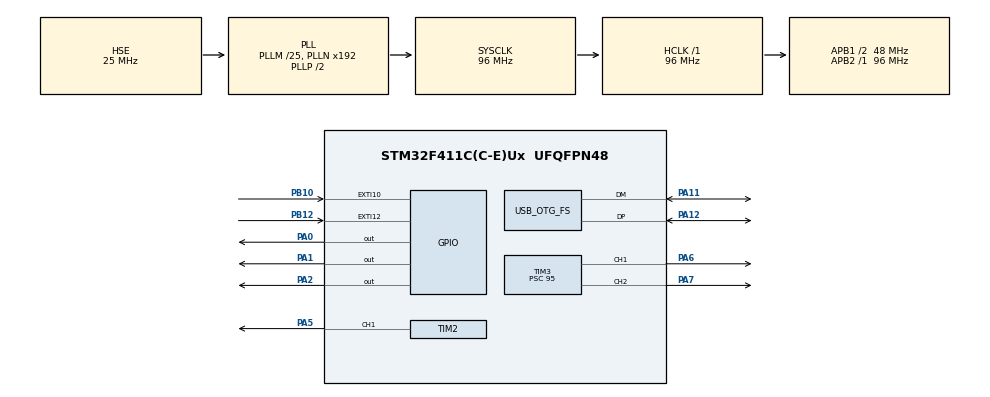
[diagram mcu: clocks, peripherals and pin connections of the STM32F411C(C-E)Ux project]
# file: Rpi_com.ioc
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Mcu.Family=STM32F4
Mcu.Name=STM32F411C(C-E)Ux
Mcu.Package=UFQFPN48
NVIC.EXTI15_10_IRQn=true\:0\:0\:false\:false\:true\:true\:true\:true
NVIC.OTG_FS_IRQn=true\:0\:0\:false\:false\:true\:false\:true\:true
NVIC.PriorityGroup=NVIC_PRIORITYGROUP_4
NVIC.TIM3_IRQn=true\:0\:0\:false\:false\:true\:true\:true\:true
PA0-WKUP.Signal=GPIO_Output
PA1.Signal=GPIO_Output
PA11.Mode=Device_Only
PA11.Signal=USB_OTG_FS_DM
PA12.Mode=Device_Only
PA12.Signal=USB_OTG_FS_DP
PA13.Mode=Serial_Wire
PA13.Signal=SYS_JTMS-SWDIO
PA14.Mode=Serial_Wire
PA14.Signal=SYS_JTCK-SWCLK
PA2.Signal=GPIO_Output
PA5.Signal=S_TIM2_CH1_ETR
PA6.Signal=S_TIM3_CH1
PA7.Signal=S_TIM3_CH2
PB10.GPIO_ModeDefaultEXTI=GPIO_MODE_IT_FALLING
PB10.GPIO_PuPd=GPIO_NOPULL
PB10.Signal=GPXTI10
PB12.GPIO_ModeDefaultEXTI=GPIO_MODE_IT_FALLING
PB12.GPIO_PuPd=GPIO_PULLDOWN
PB12.Signal=GPXTI12
PH0\ -\ OSC_IN.Mode=HSE-External-Oscillator
PH0\ -\ OSC_IN.Signal=RCC_OSC_IN
PH1\ -\ OSC_OUT.Mode=HSE-External-Oscillator
PH1\ -\ OSC_OUT.Signal=RCC_OSC_OUT
ProjectManager.HeapSize=0x200
ProjectManager.StackSize=0x400
ProjectManager.TargetToolchain=STM32CubeIDE
RCC.48MHZClocksFreq_Value=48000000
RCC.AHBFreq_Value=96000000
RCC.APB1CLKDivider=RCC_HCLK_DIV2
RCC.APB1Freq_Value=48000000
RCC.APB1TimFreq_Value=96000000
RCC.APB2Freq_Value=96000000
RCC.APB2TimFreq_Value=96000000
RCC.CortexFreq_Value=96000000
RCC.HCLKFreq_Value=96000000
RCC.HSE_VALUE=25000000
RCC.HSI_VALUE=16000000
RCC.LSE_VALUE=32768
RCC.PLLM=25
RCC.SYSCLKFreq_VALUE=96000000
RCC.SYSCLKSource=RCC_SYSCLKSOURCE_PLLCLK
RCC.VCOOutputFreq_Value=192000000
SH.S_TIM2_CH1_ETR.0=TIM2_CH1,PWM Generation1 CH1
SH.S_TIM3_CH1.0=TIM3_CH1,PWM Generation1 CH1
SH.S_TIM3_CH2.0=TIM3_CH2,PWM Generation2 CH2
TIM2.AutoReloadPreload=TIM_AUTORELOAD_PRELOAD_DISABLE
TIM2.Channel-PWM\ Generation1\ CH1=TIM_CHANNEL_1
TIM2.Period=19999
TIM2.Prescaler=95
TIM3.Channel-PWM\ Generation1\ CH1=TIM_CHANNEL_1
TIM3.Channel-PWM\ Generation2\ CH2=TIM_CHANNEL_2
TIM3.Period=19999
TIM3.Prescaler=95
USB_DEVICE.CLASS_NAME_FS=CDC
USB_DEVICE.VirtualMode=Cdc
USB_DEVICE.VirtualModeFS=Cdc_FS
USB_OTG_FS.VirtualMode=Device_Only
VP_USB_DEVICE_VS_USB_DEVICE_CDC_FS.Mode=CDC_FS
board=custom

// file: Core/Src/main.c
/* USER CODE BEGIN Header */
/**
  ******************************************************************************
  * @file           : main.c
  * @brief          : Main program body
  ******************************************************************************
  * @attention
  *
  * Copyright (c) 2025 STMicroelectronics.
  * All rights reserved.
  *
  * This software is licensed under terms that can be found in the LICENSE file
  * in the root directory of this software component.
  * If no LICENSE file comes with this software, it is provided AS-IS.
  *
  ******************************************************************************
  */
/* USER CODE END Header */
#include "main.h"
#include "usb_device.h"

/* USER CODE BEGIN PD */
#define MIN_PULSE 1000      // microseconds
#define MAX_PULSE 2000      // microseconds
#define MID_PULSE 1500      // microseconds

#define STAY_LOW_TIME 5000  // milliseconds
#define RAMP_TIME 15000     // milliseconds
#define EN_PIN     GPIO_PIN_2
#define STEP_PIN   GPIO_PIN_1
#define DIR_PIN    GPIO_PIN_0
#define EN_PORT    GPIOA
#define STEP_PORT  GPIOA
#define DIR_PORT   GPIOA

#define UP_LIMIT_PIN      GPIO_PIN_10   // PB10
#define DOWN_LIMIT_PIN    GPIO_PIN_12   // PB12
#define LIMIT_PORT        GPIOB
/* USER CODE END PD */

TIM_HandleTypeDef htim2;
TIM_HandleTypeDef htim3;

/* USER CODE BEGIN PV */
volatile uint8_t up_limit_reached = 0;
volatile uint8_t down_limit_reached = 0;
int right = 0;
int left = 0;
int base_pulse = 1490;
int right_min = 1300;
int left_max  = 1600;

float progress;

/* “reported�? flags so we send LIMIT:UP only once until state changes */
volatile uint8_t up_limit_reported = 0;
volatile uint8_t down_limit_reported = 0;

/* debounce timers */
uint32_t startTime = 0;
uint32_t speed = 0;
int fw_bw = 1;
int stop = 1;
int direction = 1;
unsigned long lastDebounceUp = 0;
unsigned long lastDebounceDown = 0;
const unsigned long debounceDelay = 50;
uint8_t light = 0;
uint8_t fw_mot_start = 0;
extern uint8_t CDC_Transmit_FS(uint8_t* Buf, uint16_t Len);
/* USER CODE END PV */

void SystemClock_Config(void);
static void MX_GPIO_Init(void);
static void MX_TIM3_Init(void);
static void MX_TIM2_Init(void);

/* USER CODE BEGIN 0 */

//void check_limit_switches(void) {
//    static uint8_t last_up_state = 0;
//    static uint8_t last_down_state = 0;
//
//    uint8_t up_state = HAL_GPIO_ReadPin(LIMIT_PORT, UP_LIMIT_PIN);
//    uint8_t down_state = HAL_GPIO_ReadPin(LIMIT_PORT, DOWN_LIMIT_PIN);
//
//    if (up_state && !last_up_state) {
//        up_limit_reached = 1;
//        CDC_Transmit_FS((uint8_t*)"LIMIT:UP\n", strlen("LIMIT:UP\n"));
//    }
//    else if (!up_state && last_up_state) {
//        up_limit_reached = 0;
//        CDC_Transmit_FS((uint8_t*)"LIMIT:CLEAR\n", strlen("LIMIT:CLEAR\n"));
//    }
//
//    if (down_state && !last_down_state) {
//        down_limit_reached = 1;
//        CDC_Transmit_FS((uint8_t*)"LIMIT:DOWN\n", strlen("LIMIT:DOWN\n"));
//    }
//    else if (!down_state && last_down_state) {
//        down_limit_reached = 0;
//        CDC_Transmit_FS((uint8_t*)"LIMIT:CLEAR\n", strlen("LIMIT:CLEAR\n"));
//    }
//
//    last_up_state = up_state;
//    last_down_state = down_state;
//}

void delay_us(uint32_t us)
{
  uint32_t start = DWT->CYCCNT;
  uint32_t ticks = us * (HAL_RCC_GetHCLKFreq() / 1000000);
  while ((DWT->CYCCNT - start) < ticks);
}
void singleStep(int dir, int speed_us)
{
  HAL_GPIO_WritePin(DIR_PORT, DIR_PIN, dir ? GPIO_PIN_SET : GPIO_PIN_RESET);
  HAL_GPIO_WritePin(STEP_PORT, STEP_PIN, GPIO_PIN_SET);
  delay_us(speed_us);
  HAL_GPIO_WritePin(STEP_PORT, STEP_PIN, GPIO_PIN_RESET);
  delay_us(speed_us);
}

/* USER CODE BEGIN 0 */
void HAL_GPIO_EXTI_Callback(uint16_t GPIO_Pin)
{
    uint32_t current = HAL_GetTick();

    if (GPIO_Pin == UP_LIMIT_PIN)
    {
        if ((current - lastDebounceUp) > debounceDelay)
        {
            lastDebounceUp = current;
            up_limit_reached = 1;         // tell main loop we hit top limit
            //up_limit_reported = 0;// allow main to report once
            down_limit_reached = 0;
        }
    }
    else if (GPIO_Pin == DOWN_LIMIT_PIN)
    {
        if ((current - lastDebounceDown) > debounceDelay)
        {
            lastDebounceDown = current;
            down_limit_reached = 1;
            //down_limit_reported = 0;
            up_limit_reached = 0;
        }
    }
}
int set_motor_speed_fw(uint32_t speed_percent) {
    if (speed_percent > 100) speed_percent = 100;

    // Map 0–100 → 1000–1500 µs
    uint32_t pulse = MID_PULSE + ((MAX_PULSE - MID_PULSE) * speed_percent) / 100;

    return pulse;

}
int set_motor_speed_bw(uint32_t speed_percent) {
    if (speed_percent > 100) speed_percent = 100;

    // Map 0–100 → 1000–1500 µs
    uint32_t pulse = MID_PULSE - ((MAX_PULSE - MID_PULSE) * speed_percent) / 100;

    return pulse;

}
/* USER CODE END 0 */

int main(void)
{

  /* MCU Configuration--------------------------------------------------------*/

  /* Reset of all peripherals, Initializes the Flash interface and the Systick. */
  HAL_Init();

  /* Configure the system clock */
  SystemClock_Config();

  /* Initialize all configured peripherals */
  MX_GPIO_Init();
  MX_USB_DEVICE_Init();
  MX_TIM3_Init();
  MX_TIM2_Init();
  /* USER CODE BEGIN 2 */
  HAL_GPIO_WritePin(EN_PORT, EN_PIN, GPIO_PIN_SET);  // Disable
  HAL_GPIO_WritePin(DIR_PORT, DIR_PIN, GPIO_PIN_RESET);
  HAL_GPIO_WritePin(STEP_PORT, STEP_PIN, GPIO_PIN_RESET);

      //HAL_GPIO_WritePin(EN_PORT, EN_PIN, GPIO_PIN_RESET); // Enable driver

      // Enable DWT Cycle Counter for microsecond delay
      CoreDebug->DEMCR |= CoreDebug_DEMCR_TRCENA_Msk;
      DWT->CYCCNT = 0;
      DWT->CTRL |= DWT_CTRL_CYCCNTENA_Msk;

      HAL_TIM_PWM_Start(&htim3, TIM_CHANNEL_1);
      HAL_TIM_PWM_Start(&htim3, TIM_CHANNEL_2);
      HAL_TIM_PWM_Start(&htim2, TIM_CHANNEL_1);
        startTime = HAL_GetTick();
  /* USER CODE END 2 */

  /* Infinite loop */
  /* USER CODE BEGIN WHILE */
  while (1)
  {

//	  check_limit_switches();
	  if (up_limit_reached)
	      {
	          // disable driver (active low enable in your code)
	          HAL_GPIO_WritePin(EN_PORT, EN_PIN, GPIO_PIN_SET); // disable motor driver

//	          if (!up_limit_reported)
//	          {
//	              // send event to host once
//	              CDC_Transmit_FS((uint8_t*)"LIMIT:UP\n", (uint16_t)strlen("LIMIT:UP\n"));
//	              up_limit_reported = 1;
//	          }

	          // do not step
	          HAL_Delay(1); // small delay to keep loop friendly
	      }
	      else if (down_limit_reached)
	      {
	          HAL_GPIO_WritePin(EN_PORT, EN_PIN, GPIO_PIN_SET); // disable driver

//	          if (!down_limit_reported)
//	          {
//	              CDC_Transmit_FS((uint8_t*)"LIMIT:DOWN\n", (uint16_t)strlen("LIMIT:DOWN\n"));
//	              down_limit_reported = 1;
//	          }
	          HAL_Delay(1);
	      }
	      else
	      {
	          // normal stepping: ensure driver enabled (active low)

	          if(stop) HAL_GPIO_WritePin(EN_PORT, EN_PIN, GPIO_PIN_SET); // disable motor driver
	          else HAL_GPIO_WritePin(EN_PORT, EN_PIN, GPIO_PIN_RESET);
	          // do one step (existing function)
	          singleStep(direction, 1000);
	      }

	  uint32_t elapsed = HAL_GetTick() - startTime;
	  	  	      uint32_t pulse_width;
	  	  	      uint32_t pulse;

	  	  	      if (elapsed < STAY_LOW_TIME)
	  	  	      {
	  	  	        pulse_width = MID_PULSE;
	  	  	    __HAL_TIM_SET_COMPARE(&htim3, TIM_CHANNEL_2, 1490);
	  	  	      }
	  	  	     else
	  	  	      {
	  	  	    	 if (fw_bw) pulse_width = set_motor_speed_fw(speed);
	  	  	    	 else pulse_width = set_motor_speed_bw(speed);
	  	  	    	if (right && !left)
	  	  	    	{
	  	  	    	    progress = (float)(elapsed - STAY_LOW_TIME) / RAMP_TIME;
	  	  	    	    if (progress < 0) progress = 0;
	  	  	    	    if (progress > 1) progress = 1;

	  	  	    	    pulse = base_pulse - progress * (base_pulse - right_min);

	  	  	    	    __HAL_TIM_SET_COMPARE(&htim3, TIM_CHANNEL_2, pulse);
	  	  	    	}

	  	  	    	// ----------- LEFT ----------------
	  	  	    	else if (left && !right)
	  	  	    	{
	  	  	    	    progress = (float)(elapsed - STAY_LOW_TIME) / RAMP_TIME;
	  	  	    	    if (progress < 0) progress = 0;
	  	  	    	    if (progress > 1) progress = 1;

	  	  	    	    pulse = base_pulse + progress * (left_max - base_pulse);

	  	  	    	    __HAL_TIM_SET_COMPARE(&htim3, TIM_CHANNEL_2, pulse);
	  	  	    	}

	  	  	    	// ----------- NEUTRAL -------------
	  	  	    	else
	  	  	    	{
	  	  	    	    pulse = base_pulse;
	  	  	    	    __HAL_TIM_SET_COMPARE(&htim3, TIM_CHANNEL_2, pulse);
	  	  	    	}
	  	  	      }

	  	  	      // Set pulse width (duty cycle)
	  	  	      if(fw_mot_start) __HAL_TIM_SET_COMPARE(&htim3, TIM_CHANNEL_1, pulse_width);
	  	  	      else __HAL_TIM_SET_COMPARE(&htim3, TIM_CHANNEL_1, MID_PULSE);
	  	  	      if(light) __HAL_TIM_SET_COMPARE(&htim2, TIM_CHANNEL_1, 5000);
	  	  	      else __HAL_TIM_SET_COMPARE(&htim2, TIM_CHANNEL_1, 0);
    /* USER CODE END WHILE */

  }
}

void SystemClock_Config(void)
{
  RCC_OscInitTypeDef RCC_OscInitStruct = {0};
  RCC_ClkInitTypeDef RCC_ClkInitStruct = {0};

  /** Configure the main internal regulator output voltage
  */
  __HAL_RCC_PWR_CLK_ENABLE();
  __HAL_PWR_VOLTAGESCALING_CONFIG(PWR_REGULATOR_VOLTAGE_SCALE1);

  /** Initializes the RCC Oscillators according to the specified parameters
  * in the RCC_OscInitTypeDef structure.
  */
  RCC_OscInitStruct.OscillatorType = RCC_OSCILLATORTYPE_HSE;
  RCC_OscInitStruct.HSEState = RCC_HSE_ON;
  RCC_OscInitStruct.PLL.PLLState = RCC_PLL_ON;
  RCC_OscInitStruct.PLL.PLLSource = RCC_PLLSOURCE_HSE;
  RCC_OscInitStruct.PLL.PLLM = 25;
  RCC_OscInitStruct.PLL.PLLN = 192;
  RCC_OscInitStruct.PLL.PLLP = RCC_PLLP_DIV2;
  RCC_OscInitStruct.PLL.PLLQ = 4;
  if (HAL_RCC_OscConfig(&RCC_OscInitStruct) != HAL_OK)
  {
    Error_Handler();
  }

  /** Initializes the CPU, AHB and APB buses clocks
  */
  RCC_ClkInitStruct.ClockType = RCC_CLOCKTYPE_HCLK|RCC_CLOCKTYPE_SYSCLK
                              |RCC_CLOCKTYPE_PCLK1|RCC_CLOCKTYPE_PCLK2;
  RCC_ClkInitStruct.SYSCLKSource = RCC_SYSCLKSOURCE_PLLCLK;
  RCC_ClkInitStruct.AHBCLKDivider = RCC_SYSCLK_DIV1;
  RCC_ClkInitStruct.APB1CLKDivider = RCC_HCLK_DIV2;
  RCC_ClkInitStruct.APB2CLKDivider = RCC_HCLK_DIV1;

  if (HAL_RCC_ClockConfig(&RCC_ClkInitStruct, FLASH_LATENCY_3) != HAL_OK)
  {
    Error_Handler();
  }
}

static void MX_TIM2_Init(void)
{

  TIM_MasterConfigTypeDef sMasterConfig = {0};
  TIM_OC_InitTypeDef sConfigOC = {0};

  htim2.Instance = TIM2;
  htim2.Init.Prescaler = 95;
  htim2.Init.CounterMode = TIM_COUNTERMODE_UP;
  htim2.Init.Period = 19999;
  htim2.Init.ClockDivision = TIM_CLOCKDIVISION_DIV1;
  htim2.Init.AutoReloadPreload = TIM_AUTORELOAD_PRELOAD_DISABLE;
  if (HAL_TIM_PWM_Init(&htim2) != HAL_OK)
  {
    Error_Handler();
  }
  sMasterConfig.MasterOutputTrigger = TIM_TRGO_RESET;
  sMasterConfig.MasterSlaveMode = TIM_MASTERSLAVEMODE_DISABLE;
  if (HAL_TIMEx_MasterConfigSynchronization(&htim2, &sMasterConfig) != HAL_OK)
  {
    Error_Handler();
  }
  sConfigOC.OCMode = TIM_OCMODE_PWM1;
  sConfigOC.Pulse = 0;
  sConfigOC.OCPolarity = TIM_OCPOLARITY_HIGH;
  sConfigOC.OCFastMode = TIM_OCFAST_DISABLE;
  if (HAL_TIM_PWM_ConfigChannel(&htim2, &sConfigOC, TIM_CHANNEL_1) != HAL_OK)
  {
    Error_Handler();
  }
  HAL_TIM_MspPostInit(&htim2);

}

static void MX_TIM3_Init(void)
{

  TIM_MasterConfigTypeDef sMasterConfig = {0};
  TIM_OC_InitTypeDef sConfigOC = {0};

  htim3.Instance = TIM3;
  htim3.Init.Prescaler = 95;
  htim3.Init.CounterMode = TIM_COUNTERMODE_UP;
  htim3.Init.Period = 19999;
  htim3.Init.ClockDivision = TIM_CLOCKDIVISION_DIV1;
  htim3.Init.AutoReloadPreload = TIM_AUTORELOAD_PRELOAD_DISABLE;
  if (HAL_TIM_PWM_Init(&htim3) != HAL_OK)
  {
    Error_Handler();
  }
  sMasterConfig.MasterOutputTrigger = TIM_TRGO_RESET;
  sMasterConfig.MasterSlaveMode = TIM_MASTERSLAVEMODE_DISABLE;
  if (HAL_TIMEx_MasterConfigSynchronization(&htim3, &sMasterConfig) != HAL_OK)
  {
    Error_Handler();
  }
  sConfigOC.OCMode = TIM_OCMODE_PWM1;
  sConfigOC.Pulse = 0;
  sConfigOC.OCPolarity = TIM_OCPOLARITY_HIGH;
  sConfigOC.OCFastMode = TIM_OCFAST_DISABLE;
  if (HAL_TIM_PWM_ConfigChannel(&htim3, &sConfigOC, TIM_CHANNEL_1) != HAL_OK)
  {
    Error_Handler();
  }
  if (HAL_TIM_PWM_ConfigChannel(&htim3, &sConfigOC, TIM_CHANNEL_2) != HAL_OK)
  {
    Error_Handler();
  }
  HAL_TIM_MspPostInit(&htim3);

}

static void MX_GPIO_Init(void)
{
  GPIO_InitTypeDef GPIO_InitStruct = {0};

  /* GPIO Ports Clock Enable */
  __HAL_RCC_GPIOH_CLK_ENABLE();
  __HAL_RCC_GPIOA_CLK_ENABLE();
  __HAL_RCC_GPIOB_CLK_ENABLE();

  /*Configure GPIO pin Output Level */
  HAL_GPIO_WritePin(GPIOA, GPIO_PIN_0|GPIO_PIN_1|GPIO_PIN_2, GPIO_PIN_RESET);

  /*Configure GPIO pins : PA0 PA1 PA2 */
  GPIO_InitStruct.Pin = GPIO_PIN_0|GPIO_PIN_1|GPIO_PIN_2;
  GPIO_InitStruct.Mode = GPIO_MODE_OUTPUT_PP;
  GPIO_InitStruct.Pull = GPIO_NOPULL;
  GPIO_InitStruct.Speed = GPIO_SPEED_FREQ_LOW;
  HAL_GPIO_Init(GPIOA, &GPIO_InitStruct);

  /*Configure GPIO pin : PB10 */
  GPIO_InitStruct.Pin = GPIO_PIN_10;
  GPIO_InitStruct.Mode = GPIO_MODE_IT_FALLING;
  GPIO_InitStruct.Pull = GPIO_NOPULL;
  HAL_GPIO_Init(GPIOB, &GPIO_InitStruct);

  /*Configure GPIO pin : PB12 */
  GPIO_InitStruct.Pin = GPIO_PIN_12;
  GPIO_InitStruct.Mode = GPIO_MODE_IT_FALLING;
  GPIO_InitStruct.Pull = GPIO_PULLDOWN;
  HAL_GPIO_Init(GPIOB, &GPIO_InitStruct);

  /* EXTI interrupt init*/
  HAL_NVIC_SetPriority(EXTI15_10_IRQn, 0, 0);
  HAL_NVIC_EnableIRQ(EXTI15_10_IRQn);

}

void Error_Handler(void)
{
  __disable_irq();
  while (1)
  {
  }
}
